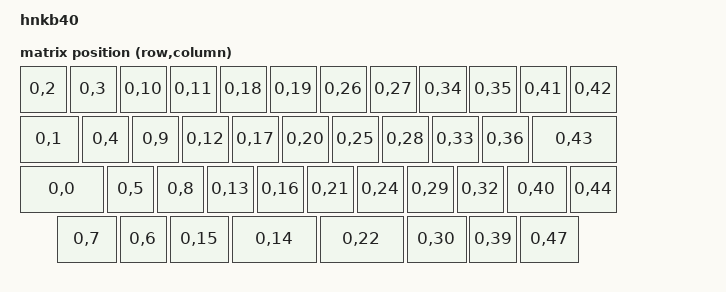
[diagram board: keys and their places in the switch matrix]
/*
 * Copyright (c) 2021 Nick Winans
 * SPDX-License-Identifier: MIT
 */

/dts-v1/;
#include <nordic/nrf52840_qiaa.dtsi>
#include <common/nordic/nrf52840_uf2_boot_mode.dtsi>

#include <dt-bindings/led/led.h>
#include <dt-bindings/zmk/matrix_transform.h>
#include <dt-bindings/regulator/nrf5x.h>
#include <physical_layouts.dtsi>

#include "hnkb40-pinctrl.dtsi"

/ {
    model = "hnkb40";
    compatible = "nordic,nrf52840-qiaa";

    chosen {
        zephyr,code-partition = &code_partition;
        zephyr,sram = &sram0;
        zephyr,flash = &flash0;
        zmk,battery = &vbatt;
        zmk,kscan = &kscan0;
        zmk,physical-layout = &hnkb40_physical_layout;
        zmk,underglow = &led_strip;
    };

    hnkb40_physical_layout: hnkb40_physical_layout {
        compatible = "zmk,physical-layout";
        display-name = "HNKB40";
        transform = <&default_transform>;

        keys  //                     w   h    x    y     rot   rx   ry
            = <&key_physical_attrs 100 100    0    0       0    0    0>
            , <&key_physical_attrs 100 100  100    0       0    0    0>
            , <&key_physical_attrs 100 100  200    0       0    0    0>
            , <&key_physical_attrs 100 100  300    0       0    0    0>
            , <&key_physical_attrs 100 100  400    0       0    0    0>
            , <&key_physical_attrs 100 100  500    0       0    0    0>
            , <&key_physical_attrs 100 100  600    0       0    0    0>
            , <&key_physical_attrs 100 100  700    0       0    0    0>
            , <&key_physical_attrs 100 100  800    0       0    0    0>
            , <&key_physical_attrs 100 100  900    0       0    0    0>
            , <&key_physical_attrs 100 100 1000    0       0    0    0>
            , <&key_physical_attrs 100 100 1100    0       0    0    0>
            , <&key_physical_attrs 125 100    0  100       0    0    0>
            , <&key_physical_attrs 100 100  125  100       0    0    0>
            , <&key_physical_attrs 100 100  225  100       0    0    0>
            , <&key_physical_attrs 100 100  325  100       0    0    0>
            , <&key_physical_attrs 100 100  425  100       0    0    0>
            , <&key_physical_attrs 100 100  525  100       0    0    0>
            , <&key_physical_attrs 100 100  625  100       0    0    0>
            , <&key_physical_attrs 100 100  725  100       0    0    0>
            , <&key_physical_attrs 100 100  825  100       0    0    0>
            , <&key_physical_attrs 100 100  925  100       0    0    0>
            , <&key_physical_attrs 175 100 1025  100       0    0    0>
            , <&key_physical_attrs 175 100    0  200       0    0    0>
            , <&key_physical_attrs 100 100  175  200       0    0    0>
            , <&key_physical_attrs 100 100  275  200       0    0    0>
            , <&key_physical_attrs 100 100  375  200       0    0    0>
            , <&key_physical_attrs 100 100  475  200       0    0    0>
            , <&key_physical_attrs 100 100  575  200       0    0    0>
            , <&key_physical_attrs 100 100  675  200       0    0    0>
            , <&key_physical_attrs 100 100  775  200       0    0    0>
            , <&key_physical_attrs 100 100  875  200       0    0    0>
            , <&key_physical_attrs 125 100  975  200       0    0    0>
            , <&key_physical_attrs 100 100 1100  200       0    0    0>
            , <&key_physical_attrs 125 100   75  300       0    0    0>
            , <&key_physical_attrs 100 100  200  300       0    0    0>
            , <&key_physical_attrs 125 100  300  300       0    0    0>
            , <&key_physical_attrs 175 100  425  300       0    0    0>
            , <&key_physical_attrs 175 100  600  300       0    0    0>
            , <&key_physical_attrs 125 100  775  300       0    0    0>
            , <&key_physical_attrs 100 100  900  300       0    0    0>
            , <&key_physical_attrs 125 100 1000  300       0    0    0>
            ;
    };

    default_transform: keymap_transform_0 {
        compatible = "zmk,matrix-transform";
        columns = <48>;
        rows = <1>;
        map = <
RC(0,2) RC(0,3) RC(0,10) RC(0,11) RC(0,18) RC(0,19) RC(0,26) RC(0,27) RC(0,34) RC(0,35) RC(0,41) RC(0,42)
RC(0,1)    RC(0,4) RC(0,9) RC(0,12) RC(0,17) RC(0,20) RC(0,25) RC(0,28) RC(0,33) RC(0,36)        RC(0,43)
RC(0,0)     RC(0,5) RC(0,8) RC(0,13) RC(0,16) RC(0,21) RC(0,24) RC(0,29) RC(0,32) RC(0,40)       RC(0,44)
    RC(0,7) RC(0,6) RC(0,15)         RC(0,14)             RC(0,22)             RC(0,30) RC(0,39) RC(0,47)
        >;
    };

    kscan0: kscan {
        compatible = "zmk,kscan-595a";
        wakeup-source;
        hc595a-ser-gpios = <&gpio1 14 GPIO_ACTIVE_HIGH>;
        hc595a-sck-gpios = <&gpio1 13 GPIO_ACTIVE_HIGH>;
        key-sense-gpios = <&gpio1 15 GPIO_ACTIVE_HIGH>;
        hc595a-count = <6>;
    };

    leds {
        compatible = "gpio-leds";
        blue_led: led_0 {
            gpios = <&gpio1 12 GPIO_ACTIVE_HIGH>;
        };
    };

    // Node name must match original "EXT_POWER" label to preserve user settings.
    EXT_POWER {
        compatible = "zmk,ext-power-generic";
        control-gpios = <&gpio1 11 GPIO_ACTIVE_HIGH>;
    };

    vbatt: vbatt {
        compatible = "zmk,battery-voltage-divider";
        io-channels = <&adc 2>;
        output-ohms = <2000000>;
        full-ohms = <(2000000 + 806000)>;
    };
};

/* Enable DCDC regulator for better power efficiency */
&reg1 {
    regulator-initial-mode = <NRF5X_REG_MODE_DCDC>;
};

&adc {
    status = "okay";
};

&gpiote {
    status = "okay";
};

&gpio0 {
    status = "okay";
};

&gpio1 {
    status = "okay";
};

/* SPI0 not used - using GPIO bit-banging for 74HC595A */
&spi0 {
    status = "disabled";
};

&spi3 {
    compatible = "nordic,nrf-spim";

    pinctrl-0 = <&spi3_default>;
    pinctrl-1 = <&spi3_sleep>;
    pinctrl-names = "default", "sleep";
    status = "okay";

    led_strip: ws2812@0 {
        compatible = "worldsemi,ws2812-spi";

        /* SPI */
        reg = <0>; /* ignored, but necessary for SPI bindings */
        spi-max-frequency = <4000000>;

        /* WS2812 */
        chain-length = <50>; /* LED strip length */
        spi-one-frame = <0x70>;
        spi-zero-frame = <0x40>;
        color-mapping = <LED_COLOR_ID_GREEN LED_COLOR_ID_RED LED_COLOR_ID_BLUE>;
    };
};

zephyr_udc0: &usbd {
    status = "okay";
};

&flash0 {
    /*
     * For more information, see:
     * http://docs.zephyrproject.org/latest/devices/dts/flash_partitions.html
     */
    partitions {
        compatible = "fixed-partitions";
        #address-cells = <1>;
        #size-cells = <1>;

        sd_partition: partition@0 {
            reg = <0x00000000 0x00001000>;
        };

        code_partition: partition@1000 {
            reg = <0x00001000 0x000d3000>;
        };

        /*
         * The flash starting at 0x000d4000 and ending at
         * 0x000f3fff is reserved for use by the application.
         */

        /*
         * Storage partition will be used by FCB/LittleFS/NVS
         * if enabled.
         */
        storage_partition: partition@d4000 {
            reg = <0x000d4000 0x00020000>;
        };

        boot_partition: partition@f4000 {
            reg = <0x000f4000 0x0000c000>;
        };
    };
};

